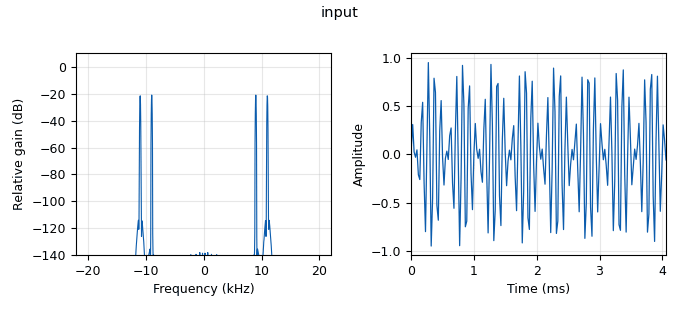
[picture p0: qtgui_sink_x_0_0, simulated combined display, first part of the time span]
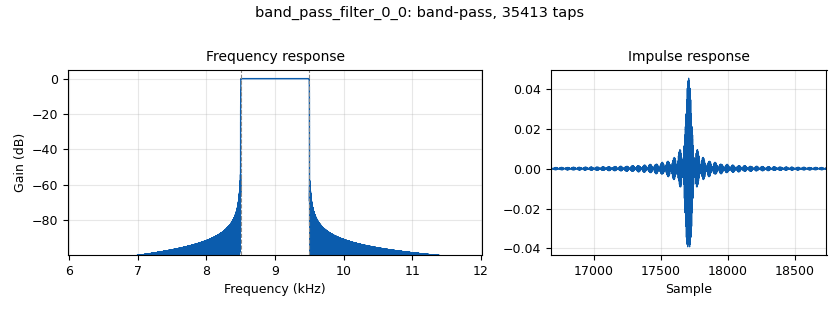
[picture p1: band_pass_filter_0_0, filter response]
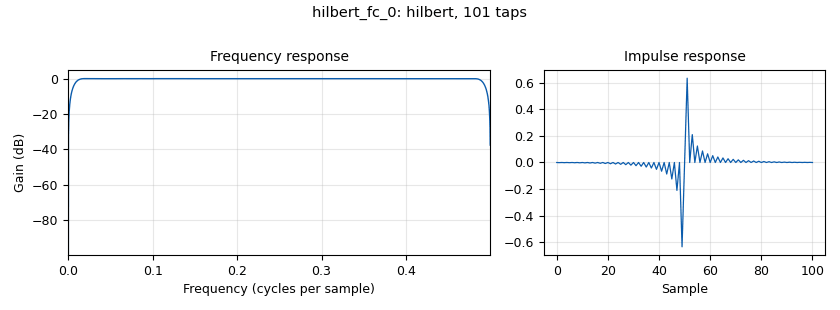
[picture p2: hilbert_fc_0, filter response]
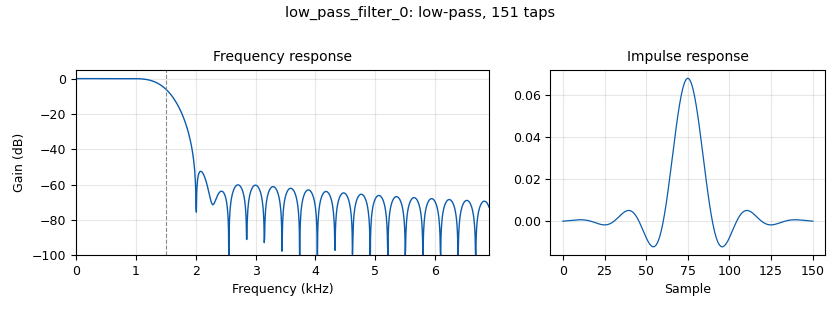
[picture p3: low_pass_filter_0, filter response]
options:
  parameters:
    author: user
    generate_options: qt_gui
    id: task1ready
    output_language: python
    title: Not titled yet
  states: {}

blocks:
- name: samp_rate
  id: variable
  parameters:
    value: '44100'
  states: {}
- name: analog_sig_source_x_0
  id: analog_sig_source_x
  parameters:
    amp: '1'
    freq: 1e3
    offset: '0'
    phase: '0'
    samp_rate: samp_rate
    type: float
    waveform: analog.GR_SIN_WAVE
  states: {}
- name: analog_sig_source_x_2
  id: analog_sig_source_x
  parameters:
    amp: '1'
    freq: 10e3
    offset: '0'
    phase: '0'
    samp_rate: samp_rate
    type: float
    waveform: analog.GR_COS_WAVE
  states: {}
- name: analog_sig_source_x_2_0
  id: analog_sig_source_x
  parameters:
    amp: '1'
    freq: 10e3
    offset: '0'
    phase: '0'
    samp_rate: samp_rate
    type: float
    waveform: analog.GR_COS_WAVE
  states: {}
- name: band_pass_filter_0_0
  id: band_pass_filter
  parameters:
    decim: '1'
    gain: '1'
    high_cutoff_freq: 9.5e3
    low_cutoff_freq: 8.5e3
    samp_rate: samp_rate
    type: fir_filter_fff
    width: '3'
    win: window.WIN_HAMMING
  states: {}
- name: blocks_complex_to_real_0
  id: blocks_complex_to_real
  parameters: {}
  states: {}
- name: blocks_multiply_xx_1
  id: blocks_multiply_xx
  parameters:
    type: complex
  states: {}
- name: blocks_multiply_xx_1_0
  id: blocks_multiply_xx
  parameters:
    type: float
  states: {}
- name: blocks_multiply_xx_1_0_0
  id: blocks_multiply_xx
  parameters:
    type: float
  states: {}
- name: blocks_null_sink_0
  id: blocks_null_sink
  parameters:
    type: float
  states: {}
- name: hilbert_fc_0
  id: hilbert_fc
  parameters:
    num_taps: '101'
  states: {}
- name: hilbert_fc_0_0
  id: hilbert_fc
  parameters:
    num_taps: '101'
  states: {}
- name: low_pass_filter_0
  id: low_pass_filter
  parameters:
    cutoff_freq: 1.5e3
    decim: '1'
    gain: '1'
    samp_rate: samp_rate
    type: fir_filter_fff
    width: '700'
    win: window.WIN_HAMMING
  states: {}
- name: qtgui_sink_x_0_0
  id: qtgui_sink_x
  parameters:
    bw: samp_rate
    fc: '0'
    fftsize: '1024'
    name: '"input"'
    type: float
  states: {}

connections:
- [analog_sig_source_x_0, '0', blocks_multiply_xx_1_0, '0']
- [analog_sig_source_x_0, '0', hilbert_fc_0, '0']
- [analog_sig_source_x_2, '0', blocks_multiply_xx_1_0, '1']
- [analog_sig_source_x_2, '0', hilbert_fc_0_0, '0']
- [analog_sig_source_x_2_0, '0', blocks_multiply_xx_1_0_0, '0']
- [band_pass_filter_0_0, '0', blocks_multiply_xx_1_0_0, '1']
- [blocks_complex_to_real_0, '0', band_pass_filter_0_0, '0']
- [blocks_multiply_xx_1, '0', blocks_complex_to_real_0, '0']
- [blocks_multiply_xx_1_0, '0', qtgui_sink_x_0_0, '0']
- [blocks_multiply_xx_1_0_0, '0', low_pass_filter_0, '0']
- [hilbert_fc_0, '0', blocks_multiply_xx_1, '0']
- [hilbert_fc_0_0, '0', blocks_multiply_xx_1, '1']
- [low_pass_filter_0, '0', blocks_null_sink_0, '0']

metadata:
  file_format: 1
  grc_version: 3.10.10.0
